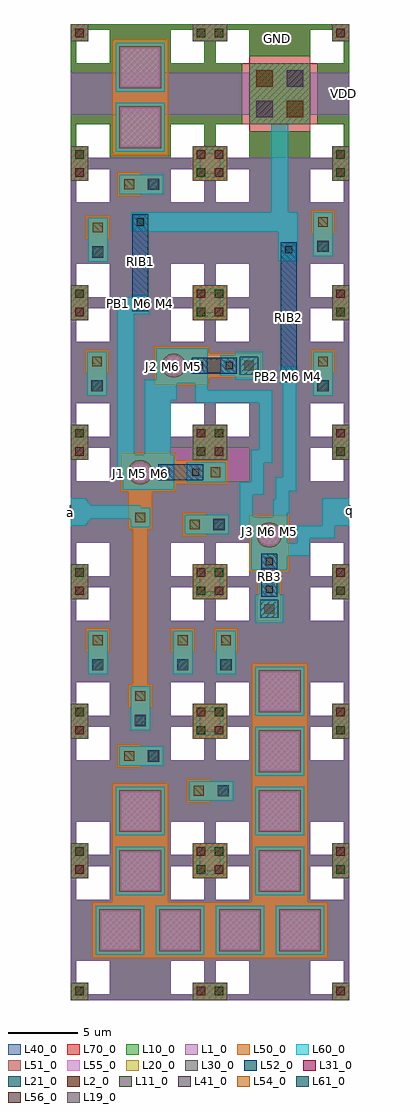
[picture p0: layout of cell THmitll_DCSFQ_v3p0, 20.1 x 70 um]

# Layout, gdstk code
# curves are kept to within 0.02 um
from math import pi, radians
import gdstk
lib = gdstk.Library(unit=1e-6, precision=1e-09)
def R(c, l, rs):  # rectangles x0, y0, x1, y1
    for r in rs: c.add(gdstk.rectangle(r[:2], r[2:], *l))
def P(c, l, *ps):  # polygons
    for p in ps: c.add(gdstk.Polygon(p, *l))
L1_0 = (1, 0)
L2_0 = (2, 0)
L10_0 = (10, 0)
L11_0 = (11, 0)
L19_0 = (19, 0)
L20_0 = (20, 0)
L21_0 = (21, 0)
L30_0 = (30, 0)
L31_0 = (31, 0)
L40_0 = (40, 0)
L41_0 = (41, 0)
L50_0 = (50, 0)
L51_0 = (51, 0)
L52_0 = (52, 0)
L54_0 = (54, 0)
L55_0 = (55, 0)
L56_0 = (56, 0)
L60_0 = (60, 0)
L61_0 = (61, 0)
L70_0 = (70, 0)

th_jj_225_s = lib.new_cell('th_jj_225_s')
R(th_jj_225_s, L50_0, [(-1.4,-1.4,1.4,2.55), (-0.875,2.55,0.875,6.275)])
P(th_jj_225_s, L51_0, [(-0.065,-0.865),(-0.065,-0.86),(-0.11,-0.86),(-0.11,-0.855),(-0.145,-0.855),(-0.145,-0.85),(-0.17,-0.85),(-0.17,-0.845),(-0.195,-0.845),(-0.195,-0.84),(-0.215,-0.84),(-0.215,-0.835),(-0.235,-0.835),(-0.235,-0.83),(-0.25,-0.83),(-0.25,-0.825),(-0.27,-0.825),(-0.27,-0.82),(-0.28,-0.82),(-0.28,-0.815),(-0.295,-0.815),(-0.295,-0.81),(-0.31,-0.81),(-0.31,-0.805),(-0.32,-0.805),(-0.32,-0.8),(-0.335,-0.8),(-0.335,-0.795),(-0.345,-0.795),(-0.345,-0.79),(-0.355,-0.79),(-0.355,-0.785),(-0.37,-0.785),(-0.37,-0.78),(-0.38,-0.78),(-0.38,-0.775),(-0.39,-0.775),(-0.39,-0.77),(-0.4,-0.77),(-0.4,-0.765),(-0.41,-0.765),(-0.41,-0.76),(-0.415,-0.76),(-0.415,-0.755),(-0.425,-0.755),(-0.425,-0.75),(-0.435,-0.75),(-0.435,-0.745),(-0.445,-0.745),(-0.445,-0.74),(-0.45,-0.74),(-0.45,-0.735),(-0.46,-0.735),(-0.46,-0.73),(-0.465,-0.73),(-0.465,-0.725),(-0.475,-0.725),(-0.475,-0.72),(-0.485,-0.72),(-0.485,-0.715),(-0.49,-0.715),(-0.49,-0.71),(-0.495,-0.71),(-0.495,-0.705),(-0.505,-0.705),(-0.505,-0.7),(-0.51,-0.7),(-0.51,-0.695),(-0.52,-0.695),(-0.52,-0.69),(-0.525,-0.69),(-0.525,-0.685),(-0.53,-0.685),(-0.53,-0.68),(-0.535,-0.68),(-0.535,-0.675),(-0.545,-0.675),(-0.545,-0.67),(-0.55,-0.67),(-0.55,-0.665),(-0.555,-0.665),(-0.555,-0.66),(-0.56,-0.66),(-0.56,-0.655),(-0.565,-0.655),(-0.565,-0.65),(-0.57,-0.65),(-0.57,-0.645),(-0.575,-0.645),(-0.575,-0.64),(-0.58,-0.64),(-0.58,-0.635),(-0.585,-0.635),(-0.585,-0.63),(-0.59,-0.63),(-0.59,-0.625),(-0.595,-0.625),(-0.595,-0.62),(-0.6,-0.62),(-0.6,-0.615),(-0.605,-0.615),(-0.605,-0.61),(-0.61,-0.61),(-0.61,-0.605),(-0.615,-0.605),(-0.615,-0.6),(-0.62,-0.6),(-0.62,-0.595),(-0.625,-0.595),(-0.625,-0.59),(-0.63,-0.59),(-0.63,-0.585),(-0.635,-0.585),(-0.635,-0.58),(-0.64,-0.58),(-0.64,-0.575),(-0.645,-0.575),(-0.645,-0.57),(-0.65,-0.57),(-0.65,-0.565),(-0.655,-0.565),(-0.655,-0.56),(-0.665,-0.56),(-0.665,-0.545),(-0.67,-0.545),(-0.67,-0.54),(-0.675,-0.54),(-0.675,-0.535),(-0.685,-0.535),(-0.685,-0.52),(-0.69,-0.52),(-0.69,-0.515),(-0.7,-0.515),(-0.7,-0.5),(-0.705,-0.5),(-0.705,-0.495),(-0.715,-0.495),(-0.715,-0.485),(-0.72,-0.485),(-0.72,-0.47),(-0.73,-0.47),(-0.73,-0.455),(-0.74,-0.455),(-0.74,-0.445),(-0.745,-0.445),(-0.745,-0.435),(-0.75,-0.435),(-0.75,-0.42),(-0.76,-0.42),(-0.76,-0.41),(-0.765,-0.41),(-0.765,-0.4),(-0.77,-0.4),(-0.77,-0.39),(-0.775,-0.39),(-0.775,-0.38),(-0.78,-0.38),(-0.78,-0.37),(-0.785,-0.37),(-0.785,-0.36),(-0.79,-0.36),(-0.79,-0.35),(-0.795,-0.35),(-0.795,-0.335),(-0.8,-0.335),(-0.8,-0.325),(-0.805,-0.325),(-0.805,-0.31),(-0.81,-0.31),(-0.81,-0.3),(-0.815,-0.3),(-0.815,-0.285),(-0.82,-0.285),(-0.82,-0.27),(-0.825,-0.27),(-0.825,-0.255),(-0.83,-0.255),(-0.83,-0.235),(-0.835,-0.235),(-0.835,-0.22),(-0.84,-0.22),(-0.84,-0.195),(-0.845,-0.195),(-0.845,-0.175),(-0.85,-0.175),(-0.85,-0.15),(-0.855,-0.15),(-0.855,-0.115),(-0.86,-0.115),(-0.86,-0.07),(-0.865,-0.07),(-0.865,0.07),(-0.86,0.07),(-0.86,0.115),(-0.855,0.115),(-0.855,0.15),(-0.85,0.15),(-0.85,0.175),(-0.845,0.175),(-0.845,0.195),(-0.84,0.195),(-0.84,0.215),(-0.835,0.215),(-0.835,0.235),(-0.83,0.235),(-0.83,0.25),(-0.825,0.25),(-0.825,0.27),(-0.82,0.27),(-0.82,0.285),(-0.815,0.285),(-0.815,0.295),(-0.81,0.295),(-0.81,0.31),(-0.805,0.31),(-0.805,0.325),(-0.8,0.325),(-0.8,0.335),(-0.795,0.335),(-0.795,0.345),(-0.79,0.345),(-0.79,0.355),(-0.785,0.355),(-0.785,0.37),(-0.78,0.37),(-0.78,0.38),(-0.775,0.38),(-0.775,0.39),(-0.77,0.39),(-0.77,0.4),(-0.765,0.4),(-0.765,0.41),(-0.76,0.41),(-0.76,0.425),(-0.75,0.425),(-0.75,0.435),(-0.745,0.435),(-0.745,0.45),(-0.735,0.45),(-0.735,0.465),(-0.725,0.465),(-0.725,0.475),(-0.72,0.475),(-0.72,0.49),(-0.71,0.49),(-0.71,0.505),(-0.705,0.505),(-0.705,0.51),(-0.695,0.51),(-0.695,0.525),(-0.69,0.525),(-0.69,0.53),(-0.68,0.53),(-0.68,0.545),(-0.675,0.545),(-0.675,0.55),(-0.67,0.55),(-0.67,0.555),(-0.665,0.555),(-0.665,0.56),(-0.66,0.56),(-0.66,0.565),(-0.65,0.565),(-0.65,0.58),(-0.645,0.58),(-0.645,0.585),(-0.64,0.585),(-0.64,0.59),(-0.635,0.59),(-0.635,0.595),(-0.63,0.595),(-0.63,0.6),(-0.625,0.6),(-0.625,0.605),(-0.62,0.605),(-0.62,0.61),(-0.615,0.61),(-0.615,0.615),(-0.61,0.615),(-0.61,0.62),(-0.6,0.62),(-0.6,0.625),(-0.595,0.625),(-0.595,0.63),(-0.59,0.63),(-0.59,0.635),(-0.585,0.635),(-0.585,0.64),(-0.58,0.64),(-0.58,0.645),(-0.575,0.645),(-0.575,0.65),(-0.57,0.65),(-0.57,0.655),(-0.565,0.655),(-0.565,0.66),(-0.56,0.66),(-0.56,0.665),(-0.55,0.665),(-0.55,0.67),(-0.545,0.67),(-0.545,0.675),(-0.54,0.675),(-0.54,0.68),(-0.535,0.68),(-0.535,0.685),(-0.525,0.685),(-0.525,0.69),(-0.52,0.69),(-0.52,0.695),(-0.515,0.695),(-0.515,0.7),(-0.505,0.7),(-0.505,0.705),(-0.5,0.705),(-0.5,0.71),(-0.49,0.71),(-0.49,0.715),(-0.485,0.715),(-0.485,0.72),(-0.48,0.72),(-0.48,0.725),(-0.47,0.725),(-0.47,0.73),(-0.465,0.73),(-0.465,0.735),(-0.455,0.735),(-0.455,0.74),(-0.445,0.74),(-0.445,0.745),(-0.44,0.745),(-0.44,0.75),(-0.43,0.75),(-0.43,0.755),(-0.42,0.755),(-0.42,0.76),(-0.41,0.76),(-0.41,0.765),(-0.4,0.765),(-0.4,0.77),(-0.39,0.77),(-0.39,0.775),(-0.385,0.775),(-0.385,0.78),(-0.37,0.78),(-0.37,0.785),(-0.36,0.785),(-0.36,0.79),(-0.35,0.79),(-0.35,0.795),(-0.335,0.795),(-0.335,0.8),(-0.325,0.8),(-0.325,0.805),(-0.315,0.805),(-0.315,0.81),(-0.3,0.81),(-0.3,0.815),(-0.285,0.815),(-0.285,0.82),(-0.27,0.82),(-0.27,0.825),(-0.255,0.825),(-0.255,0.83),(-0.24,0.83),(-0.24,0.835),(-0.22,0.835),(-0.22,0.84),(-0.2,0.84),(-0.2,0.845),(-0.18,0.845),(-0.18,0.85),(-0.155,0.85),(-0.155,0.855),(-0.12,0.855),(-0.12,0.86),(-0.075,0.86),(-0.075,0.865),(0.075,0.865),(0.075,0.86),(0.12,0.86),(0.12,0.855),(0.15,0.855),(0.15,0.85),(0.175,0.85),(0.175,0.845),(0.195,0.845),(0.195,0.84),(0.22,0.84),(0.22,0.835),(0.235,0.835),(0.235,0.83),(0.25,0.83),(0.25,0.825),(0.27,0.825),(0.27,0.82),(0.285,0.82),(0.285,0.815),(0.295,0.815),(0.295,0.81),(0.31,0.81),(0.31,0.805),(0.325,0.805),(0.325,0.8),(0.335,0.8),(0.335,0.795),(0.345,0.795),(0.345,0.79),(0.36,0.79),(0.36,0.785),(0.37,0.785),(0.37,0.78),(0.38,0.78),(0.38,0.775),(0.39,0.775),(0.39,0.77),(0.4,0.77),(0.4,0.765),(0.41,0.765),(0.41,0.76),(0.42,0.76),(0.42,0.755),(0.425,0.755),(0.425,0.75),(0.435,0.75),(0.435,0.745),(0.445,0.745),(0.445,0.74),(0.45,0.74),(0.45,0.735),(0.46,0.735),(0.46,0.73),(0.465,0.73),(0.465,0.725),(0.475,0.725),(0.475,0.72),(0.485,0.72),(0.485,0.715),(0.49,0.715),(0.49,0.71),(0.5,0.71),(0.5,0.705),(0.505,0.705),(0.505,0.7),(0.515,0.7),(0.515,0.695),(0.52,0.695),(0.52,0.69),(0.525,0.69),(0.525,0.685),(0.53,0.685),(0.53,0.68),(0.54,0.68),(0.54,0.675),(0.545,0.675),(0.545,0.67),(0.55,0.67),(0.55,0.665),(0.555,0.665),(0.555,0.66),(0.56,0.66),(0.56,0.655),(0.565,0.655),(0.565,0.65),(0.575,0.65),(0.575,0.645),(0.58,0.645),(0.58,0.64),(0.585,0.64),(0.585,0.635),(0.59,0.635),(0.59,0.63),(0.595,0.63),(0.595,0.625),(0.6,0.625),(0.6,0.62),(0.605,0.62),(0.605,0.615),(0.61,0.615),(0.61,0.61),(0.62,0.61),(0.62,0.595),(0.625,0.595),(0.625,0.59),(0.63,0.59),(0.63,0.585),(0.635,0.585),(0.635,0.58),(0.64,0.58),(0.64,0.575),(0.645,0.575),(0.645,0.57),(0.65,0.57),(0.65,0.565),(0.655,0.565),(0.655,0.56),(0.665,0.56),(0.665,0.545),(0.67,0.545),(0.67,0.54),(0.675,0.54),(0.675,0.535),(0.685,0.535),(0.685,0.52),(0.69,0.52),(0.69,0.515),(0.7,0.515),(0.7,0.5),(0.71,0.5),(0.71,0.485),(0.715,0.485),(0.715,0.48),(0.725,0.48),(0.725,0.465),(0.735,0.465),(0.735,0.455),(0.74,0.455),(0.74,0.445),(0.745,0.445),(0.745,0.43),(0.755,0.43),(0.755,0.42),(0.76,0.42),(0.76,0.41),(0.765,0.41),(0.765,0.4),(0.77,0.4),(0.77,0.39),(0.775,0.39),(0.775,0.38),(0.78,0.38),(0.78,0.37),(0.785,0.37),(0.785,0.36),(0.79,0.36),(0.79,0.35),(0.795,0.35),(0.795,0.335),(0.8,0.335),(0.8,0.325),(0.805,0.325),(0.805,0.315),(0.81,0.315),(0.81,0.3),(0.815,0.3),(0.815,0.285),(0.82,0.285),(0.82,0.27),(0.825,0.27),(0.825,0.255),(0.83,0.255),(0.83,0.24),(0.835,0.24),(0.835,0.22),(0.84,0.22),(0.84,0.2),(0.845,0.2),(0.845,0.175),(0.85,0.175),(0.85,0.15),(0.855,0.15),(0.855,0.12),(0.86,0.12),(0.86,0.07),(0.865,0.07),(0.865,-0.07),(0.86,-0.07),(0.86,-0.115),(0.855,-0.115),(0.855,-0.15),(0.85,-0.15),(0.85,-0.175),(0.845,-0.175),(0.845,-0.195),(0.84,-0.195),(0.84,-0.215),(0.835,-0.215),(0.835,-0.235),(0.83,-0.235),(0.83,-0.255),(0.825,-0.255),(0.825,-0.265),(0.82,-0.265),(0.82,-0.28),(0.815,-0.28),(0.815,-0.295),(0.81,-0.295),(0.81,-0.31),(0.805,-0.31),(0.805,-0.325),(0.8,-0.325),(0.8,-0.335),(0.795,-0.335),(0.795,-0.345),(0.79,-0.345),(0.79,-0.365),(0.78,-0.365),(0.78,-0.38),(0.775,-0.38),(0.775,-0.39),(0.77,-0.39),(0.77,-0.405),(0.76,-0.405),(0.76,-0.415),(0.755,-0.415),(0.755,-0.425),(0.75,-0.425),(0.75,-0.44),(0.74,-0.44),(0.74,-0.45),(0.735,-0.45),(0.735,-0.465),(0.725,-0.465),(0.725,-0.48),(0.715,-0.48),(0.715,-0.495),(0.705,-0.495),(0.705,-0.51),(0.7,-0.51),(0.7,-0.515),(0.69,-0.515),(0.69,-0.53),(0.685,-0.53),(0.685,-0.535),(0.68,-0.535),(0.68,-0.54),(0.67,-0.54),(0.67,-0.555),(0.665,-0.555),(0.665,-0.56),(0.66,-0.56),(0.66,-0.565),(0.655,-0.565),(0.655,-0.57),(0.65,-0.57),(0.65,-0.575),(0.645,-0.575),(0.645,-0.58),(0.64,-0.58),(0.64,-0.585),(0.635,-0.585),(0.635,-0.59),(0.63,-0.59),(0.63,-0.595),(0.625,-0.595),(0.625,-0.6),(0.62,-0.6),(0.62,-0.605),(0.615,-0.605),(0.615,-0.61),(0.61,-0.61),(0.61,-0.615),(0.605,-0.615),(0.605,-0.62),(0.6,-0.62),(0.6,-0.625),(0.595,-0.625),(0.595,-0.63),(0.59,-0.63),(0.59,-0.635),(0.585,-0.635),(0.585,-0.64),(0.58,-0.64),(0.58,-0.645),(0.575,-0.645),(0.575,-0.65),(0.57,-0.65),(0.57,-0.655),(0.565,-0.655),(0.565,-0.66),(0.555,-0.66),(0.555,-0.665),(0.55,-0.665),(0.55,-0.67),(0.545,-0.67),(0.545,-0.675),(0.54,-0.675),(0.54,-0.68),(0.53,-0.68),(0.53,-0.685),(0.525,-0.685),(0.525,-0.69),(0.52,-0.69),(0.52,-0.695),(0.515,-0.695),(0.515,-0.7),(0.505,-0.7),(0.505,-0.705),(0.5,-0.705),(0.5,-0.71),(0.49,-0.71),(0.49,-0.715),(0.485,-0.715),(0.485,-0.72),(0.475,-0.72),(0.475,-0.725),(0.47,-0.725),(0.47,-0.73),(0.46,-0.73),(0.46,-0.735),(0.455,-0.735),(0.455,-0.74),(0.445,-0.74),(0.445,-0.745),(0.435,-0.745),(0.435,-0.75),(0.43,-0.75),(0.43,-0.755),(0.42,-0.755),(0.42,-0.76),(0.41,-0.76),(0.41,-0.765),(0.4,-0.765),(0.4,-0.77),(0.39,-0.77),(0.39,-0.775),(0.38,-0.775),(0.38,-0.78),(0.37,-0.78),(0.37,-0.785),(0.36,-0.785),(0.36,-0.79),(0.345,-0.79),(0.345,-0.795),(0.335,-0.795),(0.335,-0.8),(0.325,-0.8),(0.325,-0.805),(0.31,-0.805),(0.31,-0.81),(0.3,-0.81),(0.3,-0.815),(0.285,-0.815),(0.285,-0.82),(0.27,-0.82),(0.27,-0.825),(0.255,-0.825),(0.255,-0.83),(0.235,-0.83),(0.235,-0.835),(0.22,-0.835),(0.22,-0.84),(0.2,-0.84),(0.2,-0.845),(0.175,-0.845),(0.175,-0.85),(0.145,-0.85),(0.145,-0.855),(0.115,-0.855),(0.115,-0.86),(0.065,-0.86),(0.065,-0.865)])
R(th_jj_225_s, L52_0, [(-0.575,1.3,0.575,4.525)])
R(th_jj_225_s, L54_0, [(-0.35,5.05,0.35,5.75)])
P(th_jj_225_s, L55_0, [(0,-0.72),(-0.27,-0.67),(-0.51,-0.51),(-0.61,-0.4),(-0.73,-0.01),(-0.61,0.39),(-0.51,0.5),(-0.27,0.66),(0,0.71),(0.27,0.66),(0.51,0.5),(0.61,0.39),(0.73,-0.01),(0.61,-0.4),(0.51,-0.51),(0.27,-0.67)])
R(th_jj_225_s, L56_0, [(-0.26,1.57,0.26,2.09), (-0.26,3.72,0.26,4.24)])
R(th_jj_225_s, L60_0, [(-1.25,-1.25,1.25,2.45), (-0.725,3.35,0.725,6.125)])

ls_conn_m5m6m7 = lib.new_cell('ls_conn_M5M6M7')
R(ls_conn_m5m6m7, L60_0, [(-0.65,-0.65,1.35,1.35)])
R(ls_conn_m5m6m7, L61_0, [(-0.3,-0.3,1,1)])
R(ls_conn_m5m6m7, L70_0, [(-0.65,-0.65,1.35,1.35)])

th_jj_250_sg = lib.new_cell('th_jj_250_sg')
R(th_jj_250_sg, L41_0, [(-0.5,2.4,0.5,3.4)])
R(th_jj_250_sg, L50_0, [(-1.425,-1.425,1.425,2.625), (-0.875,2.625,0.875,6.175)])
P(th_jj_250_sg, L51_0, [(0,-0.91),(-0.18,-0.895),(-0.35,-0.84),(-0.645,-0.645),(-0.84,-0.35),(-0.91,0),(-0.895,0.18),(-0.84,0.35),(-0.645,0.645),(-0.35,0.84),(-0.18,0.895),(0,0.91),(0.18,0.895),(0.35,0.84),(0.645,0.645),(0.84,0.35),(0.895,0.18),(0.91,0),(0.84,-0.35),(0.645,-0.645),(0.35,-0.84),(0.18,-0.895)])
R(th_jj_250_sg, L52_0, [(-0.575,1.35,0.575,4.425)])
R(th_jj_250_sg, L54_0, [(-0.35,4.95,0.35,5.65)])
P(th_jj_250_sg, L55_0, [(0,-0.76),(-0.15,-0.75),(-0.29,-0.7),(-0.54,-0.54),(-0.7,-0.29),(-0.75,-0.15),(-0.76,0),(-0.75,0.15),(-0.7,0.29),(-0.54,0.54),(-0.29,0.7),(-0.15,0.75),(0,0.76),(0.15,0.75),(0.29,0.7),(0.54,0.54),(0.7,0.29),(0.75,0.15),(0.76,0),(0.75,-0.15),(0.7,-0.29),(0.54,-0.54),(0.29,-0.7),(0.15,-0.75)])
R(th_jj_250_sg, L56_0, [(-0.26,1.64,0.26,2.16), (-0.26,3.63,0.26,4.15)])
R(th_jj_250_sg, L60_0, [(-1.275,-1.275,1.275,2.525), (-0.725,3.25,0.725,6.025)])
r = gdstk.Reference(ls_conn_m5m6m7, (-0.35,4.95)); r.repetition = gdstk.Repetition(1, 1, v1=(0,0), v2=(0,0)); th_jj_250_sg.add(r)

th_ib_275 = lib.new_cell('th_ib_275')
R(th_ib_275, L52_0, [(-0.575,0,0.575,6.95)])
R(th_ib_275, L56_0, [(-0.26,0.29,0.26,0.81), (-0.26,6.16,0.26,6.68)])
R(th_ib_275, L60_0, [(-0.625,-0.1,0.625,1.175), (-0.625,5.775,0.625,7.05)])

th_ib_175 = lib.new_cell('th_ib_175')
R(th_ib_175, L52_0, [(-0.575,0,0.575,10.05)])
R(th_ib_175, L56_0, [(-0.26,0.29,0.26,0.81), (-0.26,9.26,0.26,9.78)])
R(th_ib_175, L60_0, [(-0.625,-0.1,0.625,1.175), (-0.625,8.9,0.625,10.15)])

ls_tr_bias_pillar_m0m6 = lib.new_cell('ls_tr_bias_pillar_M0M6')
R(ls_tr_bias_pillar_m0m6, L1_0, [(0,0,1.25,1.25), (8.75,0,10,1.25), (2.8,2.8,7.2,7.2), (0,8.75,1.25,10), (8.75,8.75,10,10)])
R(ls_tr_bias_pillar_m0m6, L2_0, [(9.05,0.35,9.65,0.95), (5.5,3.3,6.7,4.5), (3.3,5.5,4.5,6.7), (0.35,9.05,0.95,9.65)])
R(ls_tr_bias_pillar_m0m6, L10_0, [(0,0,1.25,1.25), (8.75,0,10,1.25), (2.8,2.8,7.2,7.2), (0,8.75,1.25,10), (8.75,8.75,10,10)])
P(ls_tr_bias_pillar_m0m6, L10_0, [(0,0),(0,10),(7.2,10),(7.2,7.7),(2.8,7.7),(2.8,9.6),(1.25,9.6),(1.25,8.75),(0.4,8.75),(0.4,7.2),(2.3,7.2),(2.3,2.8),(0.4,2.8),(0.4,1.25),(1.25,1.25),(1.25,0.4),(2.8,0.4),(2.8,2.3),(7.2,2.3),(7.2,0.4),(8.75,0.4),(8.75,1.25),(9.6,1.25),(9.6,2.8),(7.7,2.8),(7.7,7.2),(9.6,7.2),(9.6,8.75),(8.75,8.75),(8.75,9.6),(7.2,9.6),(7.2,10),(10,10),(10,0)])
R(ls_tr_bias_pillar_m0m6, L11_0, [(0.35,0.35,0.95,0.95), (3.3,3.3,4.5,4.5), (5.5,5.5,6.7,6.7), (9.05,9.05,9.65,9.65)])
R(ls_tr_bias_pillar_m0m6, L20_0, [(0,0,1.25,1.25), (8.75,0,10,1.25), (2.8,2.8,7.2,7.2), (0,8.75,1.25,10), (8.75,8.75,10,10)])
R(ls_tr_bias_pillar_m0m6, L21_0, [(9.05,0.35,9.65,0.95), (5.5,3.3,6.7,4.5), (3.3,5.5,4.5,6.7), (0.35,9.05,0.95,9.65)])
R(ls_tr_bias_pillar_m0m6, L30_0, [(0,0,1.25,1.25), (8.75,0,10,1.25), (2.8,2.8,7.2,7.2), (0,8.75,1.25,10), (8.75,8.75,10,10)])
R(ls_tr_bias_pillar_m0m6, L31_0, [(0.35,0.35,0.95,0.95), (3.3,3.3,4.5,4.5), (5.5,5.5,6.7,6.7), (9.05,9.05,9.65,9.65)])
R(ls_tr_bias_pillar_m0m6, L40_0, [(2.8,2.8,7.2,7.2)])
P(ls_tr_bias_pillar_m0m6, L40_0, [(0,0),(0,10),(7.2,10),(7.2,7.7),(2.8,7.7),(2.8,9.6),(1.25,9.6),(1.25,8.75),(0.4,8.75),(0.4,7.2),(2.3,7.2),(2.3,2.8),(0.4,2.8),(0.4,1.25),(1.25,1.25),(1.25,0.4),(2.8,0.4),(2.8,2.3),(7.2,2.3),(7.2,0.4),(8.75,0.4),(8.75,1.25),(9.6,1.25),(9.6,2.8),(7.7,2.8),(7.7,7.2),(9.6,7.2),(9.6,8.75),(8.75,8.75),(8.75,9.6),(7.2,9.6),(7.2,10),(10,10),(10,0)])
R(ls_tr_bias_pillar_m0m6, L41_0, [(5.5,3.3,6.7,4.5), (3.3,5.5,4.5,6.7)])
R(ls_tr_bias_pillar_m0m6, L50_0, [(2.8,2.8,7.2,7.2)])
R(ls_tr_bias_pillar_m0m6, L54_0, [(3.3,3.3,4.5,4.5), (5.5,5.5,6.7,6.7)])
R(ls_tr_bias_pillar_m0m6, L60_0, [(2.8,2.8,7.2,7.2)])
P(ls_tr_bias_pillar_m0m6, L70_0, [(0,0),(0,10),(1.25,10),(1.25,8.75),(0.4,8.75),(0.4,1.25),(1.25,1.25),(1.25,0.4),(2.8,0.4),(2.8,2.8),(0.4,2.8),(0.4,7.2),(2.8,7.2),(2.8,9.6),(1.25,9.6),(1.25,10),(7.2,10),(7.2,0.4),(8.75,0.4),(8.75,1.25),(9.6,1.25),(9.6,2.8),(7.2,2.8),(7.2,7.2),(9.6,7.2),(9.6,8.75),(8.75,8.75),(8.75,9.6),(7.2,9.6),(7.2,10),(10,10),(10,0)])

ls_tr_m7_1 = lib.new_cell('ls_tr_M7$1')
P(ls_tr_m7_1, L70_0, [(0,0),(0,10),(1.25,10),(1.25,8.75),(0.4,8.75),(0.4,1.25),(1.25,1.25),(1.25,0.4),(2.8,0.4),(2.8,2.8),(0.4,2.8),(0.4,7.2),(2.8,7.2),(2.8,9.6),(1.25,9.6),(1.25,10),(7.2,10),(7.2,0.4),(8.75,0.4),(8.75,1.25),(9.6,1.25),(9.6,2.8),(7.2,2.8),(7.2,7.2),(9.6,7.2),(9.6,8.75),(8.75,8.75),(8.75,9.6),(7.2,9.6),(7.2,10),(10,10),(10,0)])

ls_tr_u_m4_alt = lib.new_cell('ls_tr_u_M4_alt')
R(ls_tr_u_m4_alt, L1_0, [(0,0,1.25,1.25), (8.75,0,10,1.25), (0,8.75,1.25,10), (8.75,8.75,10,10)])
R(ls_tr_u_m4_alt, L2_0, [(9.05,0.35,9.65,0.95), (0.35,9.05,0.95,9.65)])
R(ls_tr_u_m4_alt, L10_0, [(0,0,1.25,1.25), (1.25,0,8.75,0.4), (8.75,0,10,1.25), (2.8,0.4,7.2,9.6), (0,1.25,0.4,8.75), (9.6,1.25,10,8.75), (0.4,2.8,2.8,7.2), (7.2,2.8,9.6,7.2), (0,8.75,1.25,10), (8.75,8.75,10,10), (1.25,9.6,8.75,10)])
R(ls_tr_u_m4_alt, L11_0, [(0.35,0.35,0.95,0.95), (9.05,9.05,9.65,9.65)])
R(ls_tr_u_m4_alt, L20_0, [(0,0,1.25,1.25), (8.75,0,10,1.25), (0,8.75,1.25,10), (8.75,8.75,10,10)])
R(ls_tr_u_m4_alt, L21_0, [(9.05,0.35,9.65,0.95), (0.35,9.05,0.95,9.65)])
R(ls_tr_u_m4_alt, L30_0, [(0,0,1.25,1.25), (8.75,0,10,1.25), (0,8.75,1.25,10), (8.75,8.75,10,10)])
R(ls_tr_u_m4_alt, L31_0, [(0.35,0.35,0.95,0.95), (9.05,9.05,9.65,9.65)])
P(ls_tr_u_m4_alt, L40_0, [(0,0),(0,10),(1.25,10),(1.25,8.75),(0.4,8.75),(0.4,1.25),(1.25,1.25),(1.25,0.4),(2.8,0.4),(2.8,2.8),(0.4,2.8),(0.4,7.2),(2.8,7.2),(2.8,9.6),(1.25,9.6),(1.25,10),(7.2,10),(7.2,0.4),(8.75,0.4),(8.75,1.25),(9.6,1.25),(9.6,2.8),(7.2,2.8),(7.2,7.2),(9.6,7.2),(9.6,8.75),(8.75,8.75),(8.75,9.6),(7.2,9.6),(7.2,10),(10,10),(10,0)])
ls_tr_u_m4_alt.add(gdstk.Reference(ls_tr_m7_1, (0,0)))

ls_tr_m7 = lib.new_cell('ls_tr_M7')
P(ls_tr_m7, L70_0, [(0,0),(0,10),(1.25,10),(1.25,8.75),(0.4,8.75),(0.4,1.25),(1.25,1.25),(1.25,0.4),(2.8,0.4),(2.8,2.8),(0.4,2.8),(0.4,7.2),(2.8,7.2),(2.8,9.6),(1.25,9.6),(1.25,10),(7.2,10),(7.2,0.4),(8.75,0.4),(8.75,1.25),(9.6,1.25),(9.6,2.8),(7.2,2.8),(7.2,7.2),(9.6,7.2),(9.6,8.75),(8.75,8.75),(8.75,9.6),(7.2,9.6),(7.2,10),(10,10),(10,0)])

ls_tr_u_m4_nptl = lib.new_cell('ls_tr_u_M4_NPTL')
P(ls_tr_u_m4_nptl, L1_0, [(0,0),(0,10),(1.25,10),(1.25,8.75),(0.4,8.75),(0.4,1.25),(1.25,1.25),(1.25,0.4),(2.8,0.4),(2.8,2.8),(0.4,2.8),(0.4,7.2),(2.8,7.2),(2.8,9.6),(1.25,9.6),(1.25,10),(7.2,10),(7.2,0.4),(8.75,0.4),(8.75,1.25),(9.6,1.25),(9.6,2.8),(7.2,2.8),(7.2,7.2),(9.6,7.2),(9.6,8.75),(8.75,8.75),(8.75,9.6),(7.2,9.6),(7.2,10),(10,10),(10,0)])
R(ls_tr_u_m4_nptl, L2_0, [(9.05,0.35,9.65,0.95), (0.35,9.05,0.95,9.65)])
R(ls_tr_u_m4_nptl, L10_0, [(0,0,1.25,1.25), (8.75,0,10,1.25), (0,8.75,1.25,10), (8.75,8.75,10,10)])
P(ls_tr_u_m4_nptl, L10_0, [(1.25,0),(1.25,0.4),(2.8,0.4),(2.8,2.8),(0.4,2.8),(0.4,1.25),(0,1.25),(0,8.75),(0.4,8.75),(0.4,7.2),(2.8,7.2),(2.8,9.6),(1.25,9.6),(1.25,10),(8.75,10),(8.75,9.6),(7.2,9.6),(7.2,7.2),(9.6,7.2),(9.6,8.75),(10,8.75),(10,1.25),(9.6,1.25),(9.6,2.8),(7.2,2.8),(7.2,0.4),(8.75,0.4),(8.75,0)])
R(ls_tr_u_m4_nptl, L11_0, [(0.35,0.35,0.95,0.95), (9.05,9.05,9.65,9.65)])
R(ls_tr_u_m4_nptl, L20_0, [(0,0,1.25,1.25), (8.75,0,10,1.25), (0,8.75,1.25,10), (8.75,8.75,10,10)])
R(ls_tr_u_m4_nptl, L21_0, [(9.05,0.35,9.65,0.95), (0.35,9.05,0.95,9.65)])
R(ls_tr_u_m4_nptl, L30_0, [(0,0,1.25,1.25), (8.75,0,10,1.25), (0,8.75,1.25,10), (8.75,8.75,10,10)])
R(ls_tr_u_m4_nptl, L31_0, [(0.35,0.35,0.95,0.95), (9.05,9.05,9.65,9.65)])
P(ls_tr_u_m4_nptl, L40_0, [(0,0),(0,10),(1.25,10),(1.25,8.75),(0.4,8.75),(0.4,1.25),(1.25,1.25),(1.25,0.4),(2.8,0.4),(2.8,2.8),(0.4,2.8),(0.4,7.2),(2.8,7.2),(2.8,9.6),(1.25,9.6),(1.25,10),(7.2,10),(7.2,0.4),(8.75,0.4),(8.75,1.25),(9.6,1.25),(9.6,2.8),(7.2,2.8),(7.2,7.2),(9.6,7.2),(9.6,8.75),(8.75,8.75),(8.75,9.6),(7.2,9.6),(7.2,10),(10,10),(10,0)])
ls_tr_u_m4_nptl.add(gdstk.Reference(ls_tr_m7, (0,0)))

ls_fakejj_3umx3um = lib.new_cell('ls_FakeJJ_3umx3um')
R(ls_fakejj_3umx3um, L40_0, [(-2,-2,2,2)])
R(ls_fakejj_3umx3um, L50_0, [(-2,-2,2,2)])
R(ls_fakejj_3umx3um, L51_0, [(-1.5,-1.5,1.5,1.5)])
R(ls_fakejj_3umx3um, L55_0, [(-1.4,-1.4,1.4,1.4)])
R(ls_fakejj_3umx3um, L60_0, [(-1.75,-1.75,1.75,1.75)])

ls_fakejj_1p5x1p5um = lib.new_cell('ls_FakeJJ_1p5x1p5um')
R(ls_fakejj_1p5x1p5um, L40_0, [(-1.25,-1.25,1.25,1.25)])
R(ls_fakejj_1p5x1p5um, L50_0, [(-1.25,-1.25,1.25,1.25)])
R(ls_fakejj_1p5x1p5um, L51_0, [(-0.75,-0.75,0.75,0.75)])
R(ls_fakejj_1p5x1p5um, L55_0, [(-0.65,-0.65,0.65,0.65)])
R(ls_fakejj_1p5x1p5um, L60_0, [(-1,-1,1,1)])

ls_conn_m4m5m6m7 = lib.new_cell('ls_conn_M4M5M6M7')
R(ls_conn_m4m5m6m7, L40_0, [(0,0,1.4,1.4)])
R(ls_conn_m4m5m6m7, L41_0, [(0.3,0.3,1.1,1.1)])
P(ls_conn_m4m5m6m7, L50_0, [(1.6,-0.15),(1.6,0),(0,0),(0,1.4),(1.6,1.4),(1.6,1.55),(3.3,1.55),(3.3,-0.15)])
R(ls_conn_m4m5m6m7, L54_0, [(2.1,0.35,2.8,1.05)])
R(ls_conn_m4m5m6m7, L60_0, [(0,0,3.15,1.4)])
R(ls_conn_m4m5m6m7, L61_0, [(0.35,0.35,1.05,1.05)])
R(ls_conn_m4m5m6m7, L70_0, [(0,0,1.4,1.4)])

ls_conn_m5m6 = lib.new_cell('ls_conn_M5M6')
R(ls_conn_m5m6, L50_0, [(0,0,1.7,1.7)])
R(ls_conn_m5m6, L54_0, [(0.5,0.5,1.2,1.2)])
R(ls_conn_m5m6, L60_0, [(0.15,0.15,1.55,1.55)])

th_jj_225_sg = lib.new_cell('th_jj_225_sg')
R(th_jj_225_sg, L41_0, [(-0.5,2.375,0.5,3.375)])
R(th_jj_225_sg, L50_0, [(-1.4,-1.4,1.4,2.55), (-0.875,2.55,0.875,6.275)])
P(th_jj_225_sg, L51_0, [(0,-0.865),(-0.33,-0.8),(-0.61,-0.61),(-0.8,-0.33),(-0.865,0),(-0.8,0.33),(-0.61,0.61),(-0.33,0.8),(0,0.865),(0.33,0.8),(0.61,0.61),(0.8,0.33),(0.865,0),(0.8,-0.33),(0.61,-0.61),(0.33,-0.8)])
R(th_jj_225_sg, L52_0, [(-0.575,1.3,0.575,4.525)])
R(th_jj_225_sg, L54_0, [(-0.35,5.05,0.35,5.75)])
P(th_jj_225_sg, L55_0, [(0,-0.72),(-0.27,-0.67),(-0.51,-0.51),(-0.61,-0.4),(-0.73,-0.01),(-0.61,0.39),(-0.51,0.5),(-0.27,0.66),(0,0.71),(0.27,0.66),(0.51,0.5),(0.61,0.39),(0.73,-0.01),(0.61,-0.4),(0.51,-0.51),(0.27,-0.67)])
R(th_jj_225_sg, L56_0, [(-0.26,1.57,0.26,2.09), (-0.26,3.72,0.26,4.24)])
R(th_jj_225_sg, L60_0, [(-1.25,-1.25,1.25,2.45), (-0.725,3.35,0.725,6.125)])
r = gdstk.Reference(ls_conn_m5m6m7, (-0.35,5.05)); r.repetition = gdstk.Repetition(1, 1, v1=(0,0), v2=(0,0)); th_jj_225_sg.add(r)

thmitll_dcsfq_v3p0 = lib.new_cell('THmitll_DCSFQ_v3p0')
R(thmitll_dcsfq_v3p0, L1_0, [(1.25,60,8.75,60.4), (11.25,60,18.75,60.4)])
P(thmitll_dcsfq_v3p0, L1_0, [(7.2,37.2),(7.2,39.6),(8.75,39.6),(8.75,38.75),(9.6,38.75),(9.6,37.2)],
  [(10.4,37.2),(10.4,38.75),(11.25,38.75),(11.25,39.6),(12.8,39.6),(12.8,37.2)])
R(thmitll_dcsfq_v3p0, L19_0, [(15.4,44.45,15.9,45), (4.75,49.65,5.25,50.2)])
P(thmitll_dcsfq_v3p0, L40_0, [(7.2,37.2),(7.2,39.6),(8.75,39.6),(8.75,38.75),(9.6,38.75),(9.6,37.2)],
  [(10.4,37.2),(10.4,38.75),(11.25,38.75),(11.25,39.6),(12.8,39.6),(12.8,37.2)])
R(thmitll_dcsfq_v3p0, L50_0, [(1.55,3,18.45,7), (3,6.85,7,15.55), (13,6.85,17,24.15), (3,60.6,7,68.9)])
R(thmitll_dcsfq_v3p0, L60_0, [(6.6,43,7.6,44.5)])
P(thmitll_dcsfq_v3p0, L60_0, [(1,34),(1,34.5),(1.5,34.5)],
  [(1,35.5),(1,36),(1.5,35.5)])
P(thmitll_dcsfq_v3p0, L70_0, [(7.2,37.2),(7.2,39.6),(8.75,39.6),(8.75,38.75),(9.6,38.75),(9.6,37.2)],
  [(10.4,37.2),(10.4,38.75),(11.25,38.75),(11.25,39.6),(12.8,39.6),(12.8,37.2)])
thmitll_dcsfq_v3p0.add(gdstk.FlexPath([(20,35),(18.05,35)], 2, ends="flush", simple_path=True, layer=60, datatype=0))  # L60_0
thmitll_dcsfq_v3p0.add(gdstk.FlexPath([(20,35),(18.5,35),(18.5,33.55),(16.7,33.55),(16.7,32.3),(15,32.3)], 0.9, ends="flush", simple_path=True, layer=60, datatype=0))  # L60_0
thmitll_dcsfq_v3p0.add(gdstk.FlexPath([(0,35),(1,35)], 2, ends="flush", simple_path=True, layer=60, datatype=0))  # L60_0
thmitll_dcsfq_v3p0.add(gdstk.FlexPath([(0,35),(5,35)], 1, ends="flush", simple_path=True, layer=60, datatype=0))  # L60_0
thmitll_dcsfq_v3p0.add(gdstk.FlexPath([(6.25,44.5),(6.25,38.8)], 1.85, ends="flush", simple_path=True, layer=60, datatype=0))  # L60_0
thmitll_dcsfq_v3p0.add(gdstk.FlexPath([(15.7,45.3),(15.7,41),(15.7,41),(15.7,37),(15.2,37),(15.2,35.4),(15.025,35.4),(15.025,33.9)], 1, ends="flush", simple_path=True, layer=60, datatype=0))  # L60_0
thmitll_dcsfq_v3p0.add(gdstk.FlexPath([(9.4,44.45),(9.4,43.3),(14,43.3),(14,39),(13.4,39),(13.4,36.7),(12.6,36.7),(12.6,34.2),(13.4,34.2)], 0.9, ends="flush", simple_path=True, layer=60, datatype=0))  # L60_0
thmitll_dcsfq_v3p0.add(gdstk.FlexPath([(5.65,49.8),(3.95,49.8),(3.95,37.8)], 1.2, ends="flush", simple_path=True, layer=60, datatype=0))  # L60_0
thmitll_dcsfq_v3p0.add(gdstk.FlexPath([(15,65),(15,56)], 1.2, ends="flush", simple_path=True, layer=60, datatype=0))  # L60_0
thmitll_dcsfq_v3p0.add(gdstk.FlexPath([(4.35,55.8),(15,55.8)], 1.4, ends="flush", simple_path=True, layer=60, datatype=0))  # L60_0
thmitll_dcsfq_v3p0.add(gdstk.FlexPath([(15,55.8),(15.6,55.8),(15.6,53)], 1.4, ends="flush", simple_path=True, layer=60, datatype=0))  # L60_0
thmitll_dcsfq_v3p0.add(gdstk.FlexPath([(0,65),(20,65)], 3, ends="flush", simple_path=True, layer=1, datatype=0))  # L1_0
thmitll_dcsfq_v3p0.add(gdstk.FlexPath([(5,36.5),(5,34.2)], 1.7, ends="flush", simple_path=True, layer=50, datatype=0))  # L50_0
thmitll_dcsfq_v3p0.add(gdstk.FlexPath([(5,35),(5,21.95)], 1.05, ends="flush", simple_path=True, layer=50, datatype=0))  # L50_0
thmitll_dcsfq_v3p0.add(gdstk.FlexPath([(0,35.5),(0,34.5)], 0.1, ends="flush", simple_path=True, layer=19, datatype=0))  # L19_0
thmitll_dcsfq_v3p0.add(gdstk.FlexPath([(20,35.5),(20,34.5)], 0.1, ends="flush", simple_path=True, layer=19, datatype=0))  # L19_0
thmitll_dcsfq_v3p0.add(gdstk.Reference(th_jj_225_s, (5,37.85), rotation=3*pi/2))
r = gdstk.Reference(th_jj_250_sg, (14.25,33.35), rotation=pi); r.repetition = gdstk.Repetition(1, 1, v1=(0,0), v2=(0,0)); thmitll_dcsfq_v3p0.add(r)
thmitll_dcsfq_v3p0.add(gdstk.Reference(th_ib_275, (5,56.35), rotation=pi))
thmitll_dcsfq_v3p0.add(gdstk.Reference(th_ib_175, (15.65,54.35), rotation=pi))
thmitll_dcsfq_v3p0.add(gdstk.Reference(ls_tr_bias_pillar_m0m6, (20,60), rotation=pi/2))
thmitll_dcsfq_v3p0.add(gdstk.Reference(ls_tr_u_m4_alt, (10,70), rotation=pi))
r = gdstk.Reference(ls_tr_u_m4_nptl, (10,60), rotation=pi); r.repetition = gdstk.Repetition(1, 6, v1=(0,0), v2=(0,-10)); thmitll_dcsfq_v3p0.add(r)
r = gdstk.Reference(ls_tr_u_m4_nptl, (20,60), rotation=pi); r.repetition = gdstk.Repetition(1, 6, v1=(0,0), v2=(0,-10)); thmitll_dcsfq_v3p0.add(r)
r = gdstk.Reference(ls_fakejj_3umx3um, (16.45,5), rotation=pi); r.repetition = gdstk.Repetition(4, 1, v1=(-4.3,0), v2=(0,0)); thmitll_dcsfq_v3p0.add(r)
r = gdstk.Reference(ls_fakejj_3umx3um, (15,22.15), rotation=pi); r.repetition = gdstk.Repetition(1, 4, v1=(0,0), v2=(0,-4.3)); thmitll_dcsfq_v3p0.add(r)
r = gdstk.Reference(ls_fakejj_3umx3um, (5,13.55), rotation=pi); r.repetition = gdstk.Repetition(1, 2, v1=(0,0), v2=(0,-4.3)); thmitll_dcsfq_v3p0.add(r)
thmitll_dcsfq_v3p0.add(gdstk.Reference(ls_fakejj_1p5x1p5um, (10,10), rotation=pi))
thmitll_dcsfq_v3p0.add(gdstk.Reference(ls_fakejj_1p5x1p5um, (10,20), rotation=pi))
thmitll_dcsfq_v3p0.add(gdstk.Reference(ls_fakejj_1p5x1p5um, (10,30), rotation=pi))
thmitll_dcsfq_v3p0.add(gdstk.Reference(ls_fakejj_1p5x1p5um, (10,50), rotation=pi))
thmitll_dcsfq_v3p0.add(gdstk.Reference(ls_fakejj_1p5x1p5um, (10,60), rotation=pi))
r = gdstk.Reference(ls_fakejj_3umx3um, (5,66.9), rotation=pi); r.repetition = gdstk.Repetition(1, 2, v1=(0,0), v2=(0,-4.3)); thmitll_dcsfq_v3p0.add(r)
thmitll_dcsfq_v3p0.add(gdstk.Reference(ls_conn_m4m5m6m7, (2.65,52.95), rotation=pi/2))
thmitll_dcsfq_v3p0.add(gdstk.Reference(ls_conn_m4m5m6m7, (6.65,59.2), rotation=pi))
thmitll_dcsfq_v3p0.add(gdstk.Reference(ls_conn_m4m5m6m7, (11.35,34.8), rotation=pi))
thmitll_dcsfq_v3p0.add(gdstk.Reference(ls_conn_m4m5m6m7, (2.65,23.35), rotation=pi/2))
thmitll_dcsfq_v3p0.add(gdstk.Reference(ls_conn_m4m5m6m7, (8.75,23.35), rotation=pi/2))
thmitll_dcsfq_v3p0.add(gdstk.Reference(ls_conn_m4m5m6m7, (11.85,23.35), rotation=pi/2))
thmitll_dcsfq_v3p0.add(gdstk.Reference(ls_conn_m4m5m6m7, (6.65,18.2), rotation=pi))
thmitll_dcsfq_v3p0.add(gdstk.Reference(ls_conn_m5m6, (5.85,35.45), rotation=pi))
thmitll_dcsfq_v3p0.add(gdstk.Reference(ls_conn_m4m5m6m7, (11.65,15.7), rotation=pi))
thmitll_dcsfq_v3p0.add(gdstk.Reference(ls_conn_m4m5m6m7, (18.8,43.35), rotation=pi/2))
thmitll_dcsfq_v3p0.add(gdstk.Reference(ls_conn_m4m5m6m7, (18.8,53.35), rotation=pi/2))
thmitll_dcsfq_v3p0.add(gdstk.Reference(ls_conn_m4m5m6m7, (2.6,43.35), rotation=pi/2))
thmitll_dcsfq_v3p0.add(gdstk.Reference(ls_conn_m4m5m6m7, (5.7,19.35), rotation=pi/2))
thmitll_dcsfq_v3p0.add(gdstk.Reference(th_jj_225_sg, (7.4,45.5), rotation=3*pi/2))
thmitll_dcsfq_v3p0.add(gdstk.Label('VDD', (19.55,65), layer=1, texttype=0))
thmitll_dcsfq_v3p0.add(gdstk.Label('GND', (14.85,68.95), layer=40, texttype=0))
thmitll_dcsfq_v3p0.add(gdstk.Label('J2 M6 M5', (7.4,45.45), layer=182, texttype=0))
thmitll_dcsfq_v3p0.add(gdstk.Label('J3 M6 M5', (14.3,33.588), layer=182, texttype=0))
thmitll_dcsfq_v3p0.add(gdstk.Label('a', (0,35), layer=182, texttype=0))
thmitll_dcsfq_v3p0.add(gdstk.Label('q', (19.975,35.075), layer=182, texttype=0))
thmitll_dcsfq_v3p0.add(gdstk.Label('P1 M6 M4', (0,35), layer=182, texttype=0))
thmitll_dcsfq_v3p0.add(gdstk.Label('P2 M6 M4', (20,35), layer=182, texttype=0))
thmitll_dcsfq_v3p0.add(gdstk.Label('J1 M5 M6', (5,37.75), layer=182, texttype=0))
thmitll_dcsfq_v3p0.add(gdstk.Label('PB1 M6 M4', (5,49.95), layer=182, texttype=0))
thmitll_dcsfq_v3p0.add(gdstk.Label('PB2 M6 M4', (15.65,44.75), layer=182, texttype=0))
thmitll_dcsfq_v3p0.add(gdstk.Label('RB2', (10.25,45.4), layer=52, texttype=11))
thmitll_dcsfq_v3p0.add(gdstk.Label('RB3', (14.3,30.388), layer=52, texttype=11))
thmitll_dcsfq_v3p0.add(gdstk.Label('RB1', (7.95,37.8), layer=52, texttype=11))
thmitll_dcsfq_v3p0.add(gdstk.Label('RIB1', (5,53), layer=52, texttype=11))
thmitll_dcsfq_v3p0.add(gdstk.Label('RIB2', (15.65,48.95), layer=52, texttype=11))
thmitll_dcsfq_v3p0.add(gdstk.Label('q', (19.913,34.89), layer=60, texttype=5))
thmitll_dcsfq_v3p0.add(gdstk.Label('a', (0,34.95), layer=60, texttype=5))

lib.write_gds('THmitll_DCSFQ_v3p0.gds')
